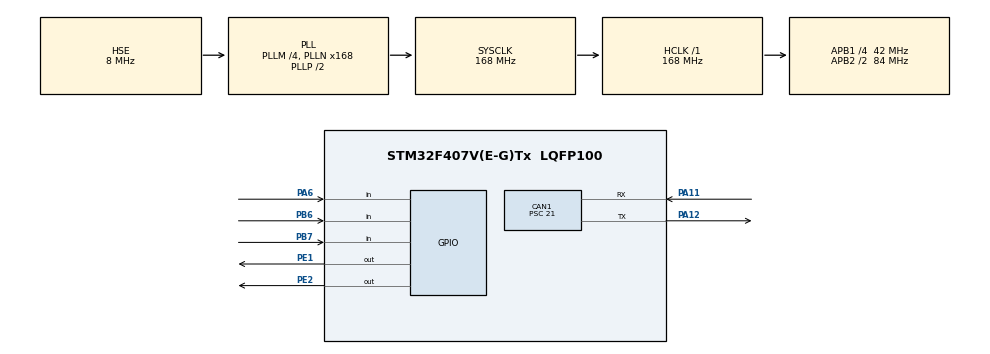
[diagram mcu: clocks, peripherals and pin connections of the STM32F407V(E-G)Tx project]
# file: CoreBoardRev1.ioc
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CAN1.CalculateTimeBit=1500
CAN1.CalculateTimeQuantum=500.0
CAN1.Prescaler=21
CAN1.TimeSeg1=CAN_BS1_2TQ
CAN1.TimeSeg2=CAN_BS2_2TQ
Mcu.Family=STM32F4
Mcu.Name=STM32F407V(E-G)Tx
Mcu.Package=LQFP100
NVIC.PriorityGroup=NVIC_PRIORITYGROUP_4
PA11.Mode=Master
PA11.Signal=CAN1_RX
PA12.Mode=Master
PA12.Signal=CAN1_TX
PA13.Mode=Serial_Wire
PA13.Signal=SYS_JTMS-SWDIO
PA14.Mode=Serial_Wire
PA14.Signal=SYS_JTCK-SWCLK
PA6.Signal=GPIO_Input
PB6.Signal=GPIO_Input
PB7.Signal=GPIO_Input
PE1.Signal=GPIO_Output
PE2.Signal=GPIO_Output
PH0-OSC_IN.Mode=HSE-External-Oscillator
PH0-OSC_IN.Signal=RCC_OSC_IN
PH1-OSC_OUT.Mode=HSE-External-Oscillator
PH1-OSC_OUT.Signal=RCC_OSC_OUT
ProjectManager.HeapSize=0x200
ProjectManager.StackSize=0x400
ProjectManager.TargetToolchain=TrueSTUDIO
RCC.48MHZClocksFreq_Value=84000000
RCC.AHBFreq_Value=168000000
RCC.APB1CLKDivider=RCC_HCLK_DIV4
RCC.APB1Freq_Value=42000000
RCC.APB1TimFreq_Value=84000000
RCC.APB2CLKDivider=RCC_HCLK_DIV2
RCC.APB2Freq_Value=84000000
RCC.APB2TimFreq_Value=168000000
RCC.CortexFreq_Value=168000000
RCC.HCLKFreq_Value=168000000
RCC.HSE_VALUE=8000000
RCC.HSI_VALUE=16000000
RCC.LSE_VALUE=32768
RCC.PLLM=4
RCC.PLLN=168
RCC.PLLSourceVirtual=RCC_PLLSOURCE_HSE
RCC.SYSCLKFreq_VALUE=168000000
RCC.SYSCLKSource=RCC_SYSCLKSOURCE_PLLCLK
RCC.VCOOutputFreq_Value=336000000
TIM3.Period=999
TIM3.Prescaler=42000
VP_TIM3_VS_ClockSourceINT.Mode=Internal
VP_TIM3_VS_OPM.Mode=OPM_bit
board=CoreBoardRev1

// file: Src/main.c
/**
  ******************************************************************************
  * @file           : main.c
  * @brief          : Main program body
  ******************************************************************************
  ** This notice applies to any and all portions of this file
  * that are not between comment pairs USER CODE BEGIN and
  * USER CODE END. Other portions of this file, whether
  * inserted by the user or by software development tools
  * are owned by their respective copyright owners.
  *
  * COPYRIGHT(c) 2018 STMicroelectronics
  *
  * Redistribution and use in source and binary forms, with or without modification,
  * are permitted provided that the following conditions are met:
  *   1. Redistributions of source code must retain the above copyright notice,
  *      this list of conditions and the following disclaimer.
  *   2. Redistributions in binary form must reproduce the above copyright notice,
  *      this list of conditions and the following disclaimer in the documentation
  *      and/or other materials provided with the distribution.
  *   3. Neither the name of STMicroelectronics nor the names of its contributors
  *      may be used to endorse or promote products derived from this software
  *      without specific prior written permission.
  *
  * THIS SOFTWARE IS PROVIDED BY THE COPYRIGHT HOLDERS AND CONTRIBUTORS "AS IS"
  * AND ANY EXPRESS OR IMPLIED WARRANTIES, INCLUDING, BUT NOT LIMITED TO, THE
  * IMPLIED WARRANTIES OF MERCHANTABILITY AND FITNESS FOR A PARTICULAR PURPOSE ARE
  * DISCLAIMED. IN NO EVENT SHALL THE COPYRIGHT HOLDER OR CONTRIBUTORS BE LIABLE
  * FOR ANY DIRECT, INDIRECT, INCIDENTAL, SPECIAL, EXEMPLARY, OR CONSEQUENTIAL
  * DAMAGES (INCLUDING, BUT NOT LIMITED TO, PROCUREMENT OF SUBSTITUTE GOODS OR
  * SERVICES; LOSS OF USE, DATA, OR PROFITS; OR BUSINESS INTERRUPTION) HOWEVER
  * CAUSED AND ON ANY THEORY OF LIABILITY, WHETHER IN CONTRACT, STRICT LIABILITY,
  * OR TORT (INCLUDING NEGLIGENCE OR OTHERWISE) ARISING IN ANY WAY OUT OF THE USE
  * OF THIS SOFTWARE, EVEN IF ADVISED OF THE POSSIBILITY OF SUCH DAMAGE.
  *
  ******************************************************************************
  */
#include "main.h"
#include "stm32f4xx_hal.h"
#include "can.h"
#include "tim.h"
#include "gpio.h"

/* USER CODE BEGIN Includes */
#include "machine.h"
#include "sm_functions.h"
#include "mycan.h"
#include "scheduler.h"
#include "identifiers.h"
#include "init_sm.h"
#include "Core.h"
/* USER CODE END Includes */

/* USER CODE BEGIN PV */
/* Private variables ---------------------------------------------------------*/
statemachine sm;
/* USER CODE END PV */

void SystemClock_Config(void);

/* USER CODE BEGIN PFP */
/* Private function prototypes -----------------------------------------------*/

/* USER CODE END PFP */

/* USER CODE BEGIN 0 */
void HAL_TIM_PeriodElapsedCallback(TIM_HandleTypeDef *htim)
{
	if (htim->Instance==TIM3) // Reset back high after 1000ms
	{
		HAL_GPIO_WritePin(RTDS_GPIO_Port, RTDS_Pin, GPIO_PIN_RESET);
	}
}

/* USER CODE END 0 */

int main(void)
{

  /* MCU Configuration----------------------------------------------------------*/

  /* Reset of all peripherals, Initializes the Flash interface and the Systick. */
  HAL_Init();

  /* Configure the system clock */
  SystemClock_Config();

  /* Initialize all configured peripherals */
  MX_GPIO_Init();
  MX_CAN1_Init();
  MX_TIM3_Init();
  /* USER CODE BEGIN 2 */

    initialize_state_machine(&sm);

    Schedule schedule;
    MakeSchedule(&schedule, 4);
    AddTask(&schedule, &mainloop,        457);
    AddTask(&schedule, &get_CAN,          10);
    AddTask(&schedule, &send_heartbeat, 1000);
    AddTask(&schedule, &send_state,      600);
    Init_MyCAN();

    HAL_GPIO_WritePin(RTDS_GPIO_Port, RTDS_Pin, GPIO_PIN_RESET);
  /* USER CODE END 2 */

  /* Infinite loop */
  /* USER CODE BEGIN WHILE */
  while (1)
  {
	  RunSchedule(&schedule);

  /* USER CODE END WHILE */

  }

}

void SystemClock_Config(void)
{

  RCC_OscInitTypeDef RCC_OscInitStruct;
  RCC_ClkInitTypeDef RCC_ClkInitStruct;

    /**Configure the main internal regulator output voltage
    */
  __HAL_RCC_PWR_CLK_ENABLE();

  __HAL_PWR_VOLTAGESCALING_CONFIG(PWR_REGULATOR_VOLTAGE_SCALE1);

    /**Initializes the CPU, AHB and APB busses clocks
    */
  RCC_OscInitStruct.OscillatorType = RCC_OSCILLATORTYPE_HSE;
  RCC_OscInitStruct.HSEState = RCC_HSE_ON;
  RCC_OscInitStruct.PLL.PLLState = RCC_PLL_ON;
  RCC_OscInitStruct.PLL.PLLSource = RCC_PLLSOURCE_HSE;
  RCC_OscInitStruct.PLL.PLLM = 4;
  RCC_OscInitStruct.PLL.PLLN = 168;
  RCC_OscInitStruct.PLL.PLLP = RCC_PLLP_DIV2;
  RCC_OscInitStruct.PLL.PLLQ = 4;
  if (HAL_RCC_OscConfig(&RCC_OscInitStruct) != HAL_OK)
  {
    _Error_Handler(__FILE__, __LINE__);
  }

    /**Initializes the CPU, AHB and APB busses clocks
    */
  RCC_ClkInitStruct.ClockType = RCC_CLOCKTYPE_HCLK|RCC_CLOCKTYPE_SYSCLK
                              |RCC_CLOCKTYPE_PCLK1|RCC_CLOCKTYPE_PCLK2;
  RCC_ClkInitStruct.SYSCLKSource = RCC_SYSCLKSOURCE_PLLCLK;
  RCC_ClkInitStruct.AHBCLKDivider = RCC_SYSCLK_DIV1;
  RCC_ClkInitStruct.APB1CLKDivider = RCC_HCLK_DIV4;
  RCC_ClkInitStruct.APB2CLKDivider = RCC_HCLK_DIV2;

  if (HAL_RCC_ClockConfig(&RCC_ClkInitStruct, FLASH_LATENCY_5) != HAL_OK)
  {
    _Error_Handler(__FILE__, __LINE__);
  }

    /**Configure the Systick interrupt time
    */
  HAL_SYSTICK_Config(HAL_RCC_GetHCLKFreq()/1000);

    /**Configure the Systick
    */
  HAL_SYSTICK_CLKSourceConfig(SYSTICK_CLKSOURCE_HCLK);

  /* SysTick_IRQn interrupt configuration */
  HAL_NVIC_SetPriority(SysTick_IRQn, 0, 0);
}

void _Error_Handler(char *file, int line)
{
  while(1)
  {
  }
}

/************************ (C) COPYRIGHT STMicroelectronics *****END OF FILE****/
